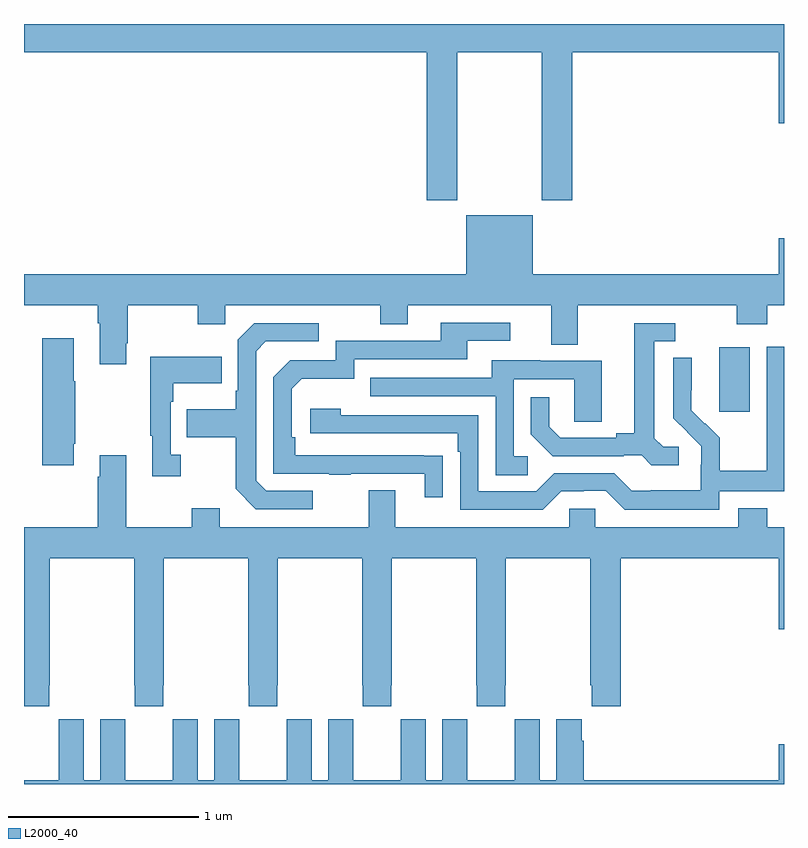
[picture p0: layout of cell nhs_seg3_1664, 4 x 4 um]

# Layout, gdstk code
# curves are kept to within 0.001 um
import gdstk
lib = gdstk.Library(unit=1e-6, precision=1e-09)
def R(c, l, rs):  # rectangles x0, y0, x1, y1
    for r in rs: c.add(gdstk.rectangle(r[:2], r[2:], *l))
def P(c, l, *ps):  # polygons
    for p in ps: c.add(gdstk.Polygon(p, *l))
L2000_40 = (2000, 40)

nhs_seg3_1664 = lib.new_cell('nhs_seg3_1664')
R(nhs_seg3_1664, L2000_40, [(200.66,696.36,200.821,696.7)])
P(nhs_seg3_1664, L2000_40, [(199.281,698.252),(199.726,698.252),(199.726,697.473),(199.886,697.473),(199.886,698.252),(200.972,698.252),(200.972,697.878),(201,697.878),(201,698.4),(197,698.4),(197,698.252),(199.121,698.252),(199.121,697.473),(199.281,697.473)],
  [(197.539,696.721),(197.547,696.721),(197.547,696.92),(197.914,696.92),(197.914,696.821),(198.06,696.821),(198.06,696.92),(198.874,696.92),(198.874,696.821),(199.021,696.821),(199.021,696.92),(199.775,696.92),(199.775,696.712),(199.915,696.712),(199.915,696.92),(200.752,696.92),(200.752,696.821),(200.912,696.821),(200.912,696.92),(201,696.92),(201,697.273),(200.972,697.273),(200.972,697.084),(199.678,697.084),(199.678,697.393),(199.328,697.393),(199.328,697.084),(197,697.084),(197,696.92),(197.387,696.92),(197.387,696.824),(197.399,696.824),(197.399,696.609),(197.539,696.609)],
  [(199.205,696.128),(198.428,696.129),(198.428,696.226),(198.408,696.226),(198.408,696.48),(198.461,696.533),(198.738,696.533),(198.738,696.636),(199.333,696.636),(199.333,696.732),(199.558,696.732),(199.558,696.828),(199.193,696.828),(199.193,696.732),(198.642,696.732),(198.642,696.63),(198.402,696.63),(198.312,696.54),(198.312,696.033),(198.607,696.033),(198.607,696.028),(198.719,696.028),(198.719,696.033),(199.109,696.033),(199.109,695.91),(199.205,695.91)],
  [(200.446,696.174),(200.364,696.174),(200.317,696.221),(200.317,696.729),(200.428,696.729),(200.428,696.825),(200.213,696.825),(200.213,696.245),(200.117,696.245),(200.117,696.222),(199.822,696.222),(199.765,696.279),(199.765,696.436),(199.668,696.436),(199.668,696.242),(199.784,696.126),(200.156,696.126),(200.156,696.129),(200.25,696.129),(200.302,696.077),(200.446,696.077)],
  [(198.52,695.943),(198.276,695.943),(198.222,695.997),(198.222,696.678),(198.273,696.729),(198.55,696.729),(198.55,696.825),(198.213,696.825),(198.126,696.738),(198.126,696.469),(198.114,696.469),(198.114,696.373),(197.857,696.373),(197.857,696.226),(198.114,696.226),(198.114,695.953),(198.219,695.847),(198.52,695.847)],
  [(197.263,696.19),(197.271,696.19),(197.271,696.521),(197.263,696.521),(197.263,696.745),(197.096,696.745),(197.096,696.078),(197.263,696.078)],
  [(200.658,695.94),(201,695.94),(201,696.702),(200.91,696.702),(200.91,696.272),(200.908,696.272),(200.908,696.049),(200.663,696.049),(200.663,696.223),(200.586,696.3),(200.583,696.297),(200.513,696.368),(200.513,696.472),(200.515,696.472),(200.515,696.644),(200.418,696.644),(200.418,696.326),(200.564,696.178),(200.564,696.081),(200.562,696.081),(200.562,695.947),(200.299,695.947),(200.299,695.943),(200.199,695.943),(200.106,696.036),(199.791,696.036),(199.695,695.94),(199.392,695.94),(199.392,696.342),(198.668,696.342),(198.668,696.376),(198.507,696.376),(198.507,696.246),(199.283,696.246),(199.283,696.149),(199.296,696.149),(199.296,695.844),(199.731,695.844),(199.827,695.94),(199.946,695.94),(199.946,695.943),(200.061,695.943),(200.161,695.843),(200.658,695.843)],
  [(197.824,696.134),(197.772,696.134),(197.772,696.413),(197.785,696.413),(197.785,696.509),(198.041,696.509),(198.041,696.649),(197.664,696.649),(197.664,696.233),(197.675,696.233),(197.675,696.021),(197.824,696.021)],
  [(199.651,696.126),(199.578,696.126),(199.578,696.531),(199.896,696.531),(199.896,696.307),(200.041,696.307),(200.041,696.627),(199.717,696.627),(199.717,696.631),(199.463,696.631),(199.463,696.537),(198.823,696.537),(198.823,696.441),(199.482,696.441),(199.482,696.025),(199.651,696.025)],
  [(197.133,694.921),(197.136,694.921),(197.136,695.588),(197.581,695.588),(197.581,694.921),(197.583,694.921),(197.583,694.809),(197.733,694.809),(197.733,694.921),(197.736,694.921),(197.736,695.588),(198.181,695.588),(198.181,694.921),(198.183,694.921),(198.183,694.809),(198.333,694.809),(198.333,694.921),(198.336,694.921),(198.336,695.588),(198.781,695.588),(198.781,694.921),(198.783,694.921),(198.783,694.809),(198.933,694.809),(198.933,694.921),(198.936,694.921),(198.936,695.588),(199.381,695.588),(199.381,694.921),(199.383,694.921),(199.383,694.809),(199.533,694.809),(199.533,694.921),(199.536,694.921),(199.536,695.588),(199.981,695.588),(199.981,694.921),(199.987,694.921),(199.987,694.809),(200.141,694.809),(200.141,695.588),(200.972,695.588),(200.972,695.214),(201,695.214),(201,695.752),(200.912,695.752),(200.912,695.851),(200.759,695.851),(200.759,695.752),(200.007,695.752),(200.007,695.85),(199.869,695.85),(199.869,695.752),(198.955,695.752),(198.955,695.947),(198.815,695.947),(198.815,695.752),(198.031,695.752),(198.031,695.851),(197.884,695.851),(197.884,695.752),(197.539,695.752),(197.539,696.13),(197.399,696.13),(197.399,696.017),(197.387,696.017),(197.387,695.752),(197,695.752),(197,694.809),(197.133,694.809)],
  [(201,694.609),(200.972,694.609),(200.972,694.42),(199.946,694.42),(199.946,694.628),(199.936,694.628),(199.936,694.741),(199.802,694.741),(199.802,694.42),(199.714,694.42),(199.714,694.741),(199.584,694.741),(199.584,694.628),(199.583,694.628),(199.583,694.42),(199.333,694.42),(199.333,694.628),(199.332,694.628),(199.332,694.741),(199.202,694.741),(199.202,694.42),(199.114,694.42),(199.114,694.741),(198.984,694.741),(198.984,694.628),(198.983,694.628),(198.983,694.42),(198.733,694.42),(198.733,694.628),(198.732,694.628),(198.732,694.741),(198.602,694.741),(198.602,694.42),(198.514,694.42),(198.514,694.741),(198.384,694.741),(198.384,694.628),(198.383,694.628),(198.383,694.42),(198.133,694.42),(198.133,694.628),(198.132,694.628),(198.132,694.741),(198.002,694.741),(198.002,694.42),(197.914,694.42),(197.914,694.741),(197.784,694.741),(197.784,694.628),(197.783,694.628),(197.783,694.42),(197.533,694.42),(197.533,694.628),(197.532,694.628),(197.532,694.741),(197.402,694.741),(197.402,694.42),(197.314,694.42),(197.314,694.741),(197.184,694.741),(197.184,694.628),(197.183,694.628),(197.183,694.42),(197,694.42),(197,694.4),(201,694.4)])

lib.write_gds('nhs_seg3_1664.gds')
